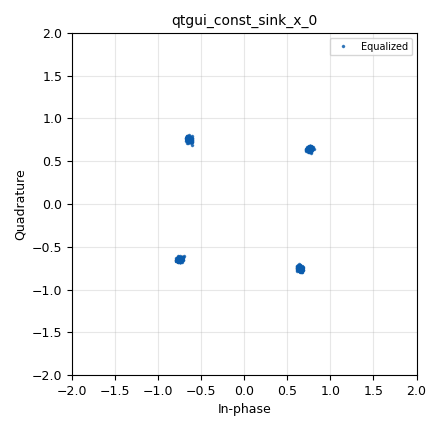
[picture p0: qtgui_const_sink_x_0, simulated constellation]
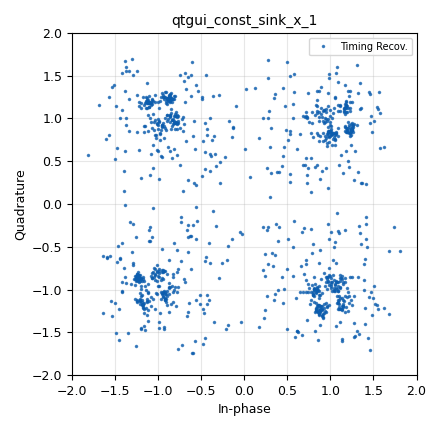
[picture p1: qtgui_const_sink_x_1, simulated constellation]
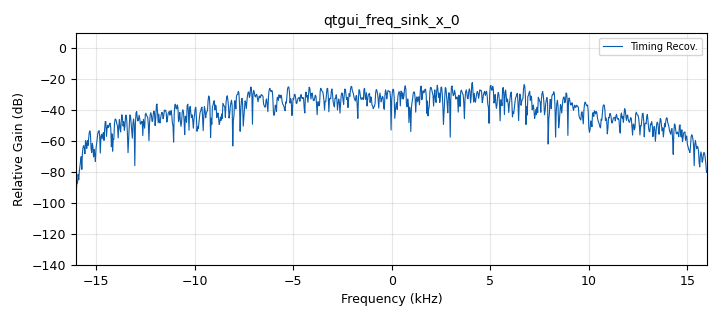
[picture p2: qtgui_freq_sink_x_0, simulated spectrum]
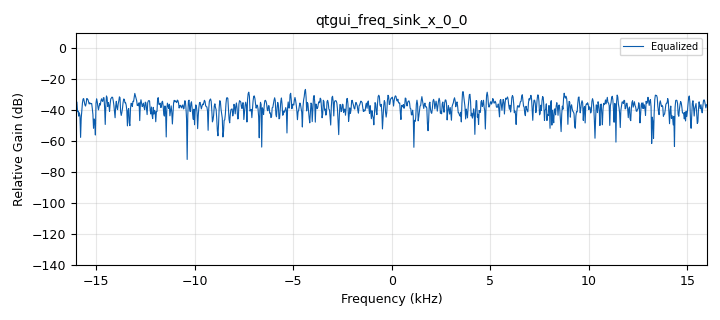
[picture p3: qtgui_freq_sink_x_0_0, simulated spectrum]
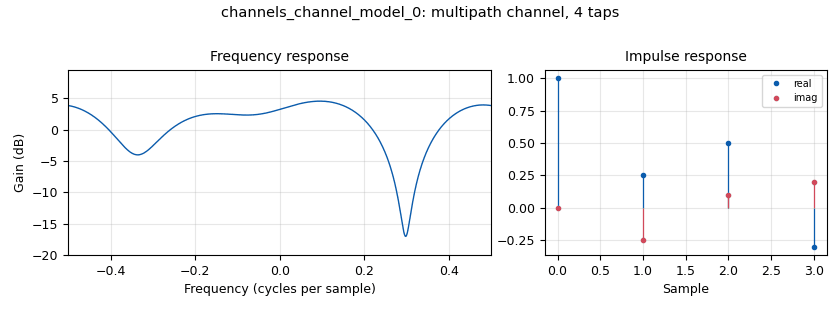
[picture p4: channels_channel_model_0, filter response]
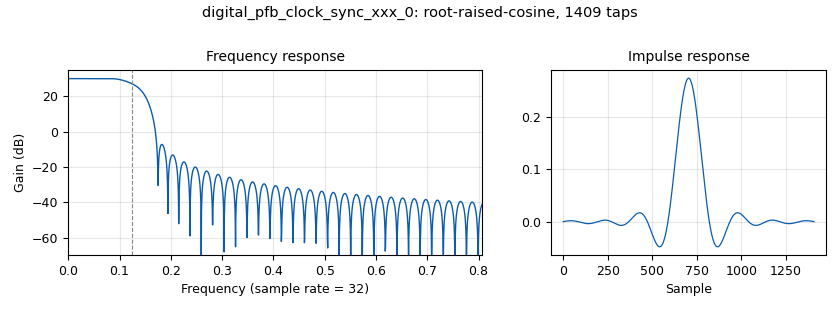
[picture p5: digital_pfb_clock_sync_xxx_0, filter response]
options:
  parameters:
    category: Custom
    generate_options: qt_gui
    id: mpsk_stage4
    output_language: python
  states: {}

blocks:
- name: arity
  id: variable
  parameters:
    value: '4'
  states: {}
- name: eq_gain
  id: variable_qtgui_range
  parameters:
    gui_hint: 'controls@1: 0,1,1,1'
    label: 'Equalizer: rate'
    orient: Qt.Horizontal
    start: '0.0'
    step: '0.001'
    stop: '0.1'
    value: '0.01'
    widget: slider
  states: {}
- name: excess_bw
  id: variable
  parameters:
    value: '0.35'
  states: {}
- name: freq_offset
  id: variable_qtgui_range
  parameters:
    gui_hint: 'controls@0: 0,1,1,1'
    label: Frequency Offset
    orient: Qt.Horizontal
    start: '-0.1'
    step: '0.001'
    stop: '0.1'
    value: '0'
  states: {}
- name: nfilts
  id: variable
  parameters:
    value: '32'
  states: {}
- name: noise_volt
  id: variable_qtgui_range
  parameters:
    gui_hint: 'controls@0: 0,0,1,1'
    label: Noise Voltage
    orient: Qt.Vertical
    start: '0'
    step: '0.01'
    stop: '1'
    value: '0.0001'
  states: {}
- name: qpsk
  id: variable_constellation_rect
  parameters:
    const_points: '[0.707+0.707j, -0.707+0.707j, -0.707-0.707j, 0.707-0.707j]'
    imag_sect: '2'
    real_sect: '2'
    rot_sym: '4'
    sym_map: '[0, 1, 2, 3]'
    w_imag_sect: '1'
    w_real_sect: '1'
  states: {}
- name: rrc_taps
  id: variable
  parameters:
    value: firdes.root_raised_cosine(nfilts, nfilts, 1.0/float(sps), 0.35, 11*sps*nfilts)
  states: {}
- name: samp_rate
  id: variable
  parameters:
    value: '32000'
  states: {}
- name: sps
  id: variable
  parameters:
    value: '4'
  states: {}
- name: taps
  id: variable
  parameters:
    value: '[1.0 + 0.0j, ]'
  states: {state: disabled}
- name: taps
  id: variable
  parameters:
    value: '[1.0, 0.25-0.25j, 0.50 + 0.10j, -0.3 + 0.2j]'
  states: {}
- name: time_offset
  id: variable_qtgui_range
  parameters:
    gui_hint: 'controls@0: 0,2,1,1'
    label: Timing Offset
    orient: Qt.Horizontal
    start: '0.999'
    step: '0.0001'
    stop: '1.001'
    value: '1.00'
  states: {}
- name: timing_loop_bw
  id: variable_qtgui_range
  parameters:
    gui_hint: 'controls@1: 0,0,1,1'
    label: 'Time: BW'
    orient: Qt.Horizontal
    start: '0.0'
    step: '0.01'
    stop: '0.2'
    value: 6.28/100.0
    widget: slider
  states: {}
- name: analog_random_source_x_0
  id: analog_random_source_x
  parameters:
    max: '256'
    min: '0'
    num_samps: '10000'
    repeat: 'True'
    type: byte
  states: {}
- name: blocks_throttle_0
  id: blocks_throttle
  parameters:
    samples_per_second: samp_rate
    type: complex
  states: {}
- name: channels_channel_model_0
  id: channels_channel_model
  parameters:
    epsilon: time_offset
    freq_offset: freq_offset
    noise_voltage: noise_volt
    seed: '0'
    taps: taps
  states: {}
- name: controls
  id: qtgui_tab_widget
  parameters:
    gui_hint: 0,0,1,2
    label0: Channel
    label1: Receiver
    num_tabs: '2'
  states: {}
- name: digital_cma_equalizer_cc_0
  id: digital_cma_equalizer_cc
  parameters:
    modulus: '1'
    mu: eq_gain
    num_taps: '11'
    sps: '2'
  states: {}
- name: digital_constellation_modulator_0
  id: digital_constellation_modulator
  parameters:
    constellation: qpsk
    differential: 'True'
    excess_bw: excess_bw
    samples_per_symbol: sps
  states: {}
- name: digital_pfb_clock_sync_xxx_0
  id: digital_pfb_clock_sync_xxx
  parameters:
    filter_size: nfilts
    init_phase: nfilts/2
    loop_bw: timing_loop_bw
    max_dev: '1.5'
    osps: '2'
    sps: sps
    taps: rrc_taps
    type: ccf
  states: {}
- name: digital_pfb_clock_sync_xxx_0_0
  id: digital_pfb_clock_sync_xxx
  parameters:
    filter_size: nfilts
    init_phase: nfilts/2
    loop_bw: timing_loop_bw
    max_dev: '1.5'
    osps: '1'
    sps: sps*1.005
    taps: rrc_taps
    type: ccf
  states: {state: disabled}
- name: qtgui_const_sink_x_0
  id: qtgui_const_sink_x
  parameters:
    alpha1: '0.6'
    gui_hint: 1,1,1,1
    label1: Equalized
    name: ''
    size: '1024'
    type: complex
  states: {}
- name: qtgui_const_sink_x_1
  id: qtgui_const_sink_x
  parameters:
    alpha1: '0.6'
    gui_hint: 1,0,1,1
    label1: Timing Recov.
    name: ''
    size: '1024'
    type: complex
  states: {}
- name: qtgui_freq_sink_x_0
  id: qtgui_freq_sink_x
  parameters:
    bw: samp_rate
    fc: '0'
    fftsize: '1024'
    gui_hint: 2,0,1,1
    label1: Timing Recov.
    name: ''
    showports: 'True'
    type: complex
    width1: '2'
    wintype: firdes.WIN_BLACKMAN_hARRIS
  states: {}
- name: qtgui_freq_sink_x_0_0
  id: qtgui_freq_sink_x
  parameters:
    alpha1: '1'
    bw: samp_rate
    fc: '0'
    fftsize: '1024'
    gui_hint: 2,1,1,1
    label1: Equalized
    name: ''
    showports: 'True'
    type: complex
    width1: '2'
    wintype: firdes.WIN_BLACKMAN_hARRIS
  states: {}

connections:
- [analog_random_source_x_0, '0', digital_constellation_modulator_0, '0']
- [blocks_throttle_0, '0', channels_channel_model_0, '0']
- [channels_channel_model_0, '0', digital_pfb_clock_sync_xxx_0, '0']
- [digital_cma_equalizer_cc_0, '0', qtgui_const_sink_x_0, '0']
- [digital_cma_equalizer_cc_0, '0', qtgui_freq_sink_x_0_0, '0']
- [digital_constellation_modulator_0, '0', blocks_throttle_0, '0']
- [digital_pfb_clock_sync_xxx_0, '0', digital_cma_equalizer_cc_0, '0']
- [digital_pfb_clock_sync_xxx_0, '0', qtgui_const_sink_x_1, '0']
- [digital_pfb_clock_sync_xxx_0, '0', qtgui_freq_sink_x_0, '0']

metadata:
  file_format: 1
